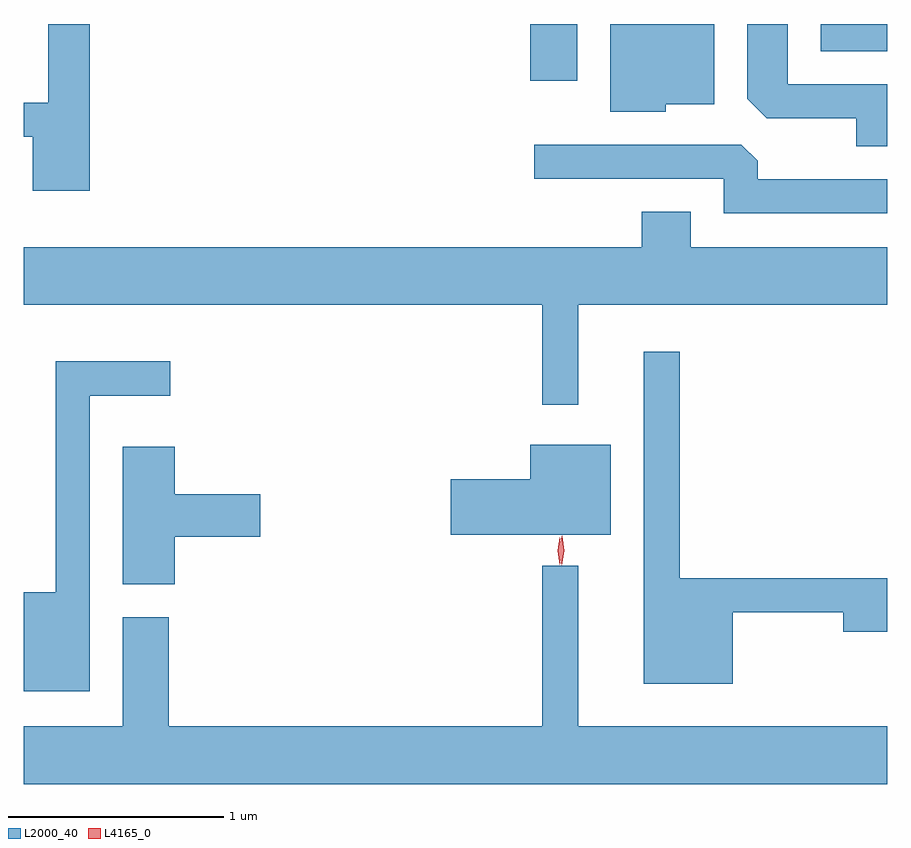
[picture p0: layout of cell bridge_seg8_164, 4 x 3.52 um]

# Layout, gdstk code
import gdstk
lib = gdstk.Library(unit=1e-6, precision=1e-09)
def R(c, l, rs):  # rectangles x0, y0, x1, y1
    for r in rs: c.add(gdstk.rectangle(r[:2], r[2:], *l))
def P(c, l, *ps):  # polygons
    for p in ps: c.add(gdstk.Polygon(p, *l))
L2000_40 = (2000, 40)
L4165_0 = (4165, 0)

bridge_seg8_164 = lib.new_cell('bridge_seg8_164')
R(bridge_seg8_164, L2000_40, [(1423.346,1921.816,1423.564,1922.078), (1424.691,1921.951,1424.999,1922.078)])
P(bridge_seg8_164, L2000_40, [(1424.999,1921.799),(1424.539,1921.799),(1424.539,1922.078),(1424.351,1922.078),(1424.351,1921.732),(1424.442,1921.641),(1424.856,1921.641),(1424.856,1921.511),(1424.999,1921.511)],
  [(1421.304,1922.078),(1421.111,1922.078),(1421.111,1921.714),(1420.999,1921.714),(1420.999,1921.556),(1421.041,1921.556),(1421.041,1921.306),(1421.304,1921.306)],
  [(1423.974,1921.706),(1424.199,1921.706),(1424.199,1922.078),(1423.716,1922.078),(1423.716,1921.671),(1423.974,1921.671)],
  [(1424.999,1921.359),(1424.399,1921.359),(1424.399,1921.444),(1424.324,1921.519),(1423.363,1921.519),(1423.363,1921.361),(1424.241,1921.361),(1424.241,1921.201),(1424.999,1921.201)],
  [(1423.569,1920.776),(1424.999,1920.776),(1424.999,1921.044),(1424.089,1921.044),(1424.089,1921.209),(1423.861,1921.209),(1423.861,1921.044),(1420.999,1921.044),(1420.999,1920.776),(1423.401,1920.776),(1423.401,1920.313),(1423.569,1920.313)],
  [(1424.284,1919.351),(1424.796,1919.351),(1424.796,1919.261),(1424.999,1919.261),(1424.999,1919.509),(1424.039,1919.509),(1424.039,1920.558),(1423.871,1920.558),(1423.871,1919.021),(1424.284,1919.021)],
  [(1421.304,1920.356),(1421.678,1920.356),(1421.678,1920.514),(1421.146,1920.514),(1421.146,1919.444),(1420.999,1919.444),(1420.999,1918.986),(1421.304,1918.986)],
  [(1423.719,1920.129),(1423.346,1920.129),(1423.346,1919.969),(1422.976,1919.969),(1422.976,1919.711),(1423.719,1919.711)],
  [(1421.699,1919.701),(1422.094,1919.701),(1422.094,1919.899),(1421.699,1919.899),(1421.699,1920.119),(1421.456,1920.119),(1421.456,1919.481),(1421.699,1919.481)],
  [(1424.999,1918.824),(1423.569,1918.824),(1423.569,1919.568),(1423.401,1919.568),(1423.401,1918.824),(1421.669,1918.824),(1421.669,1919.329),(1421.456,1919.329),(1421.456,1918.824),(1420.999,1918.824),(1420.999,1918.556),(1424.999,1918.556)])
P(bridge_seg8_164, L4165_0, [(1423.491,1919.569),(1423.491,1919.57),(1423.482,1919.638),(1423.492,1919.705),(1423.493,1919.706),(1423.493,1919.705),(1423.502,1919.638),(1423.492,1919.57)],
  [(1423.482,1919.573),(1423.473,1919.636),(1423.482,1919.699),(1423.483,1919.7),(1423.483,1919.699),(1423.493,1919.636),(1423.483,1919.573),(1423.483,1919.573)])

lib.write_gds('bridge_seg8_164.gds')
